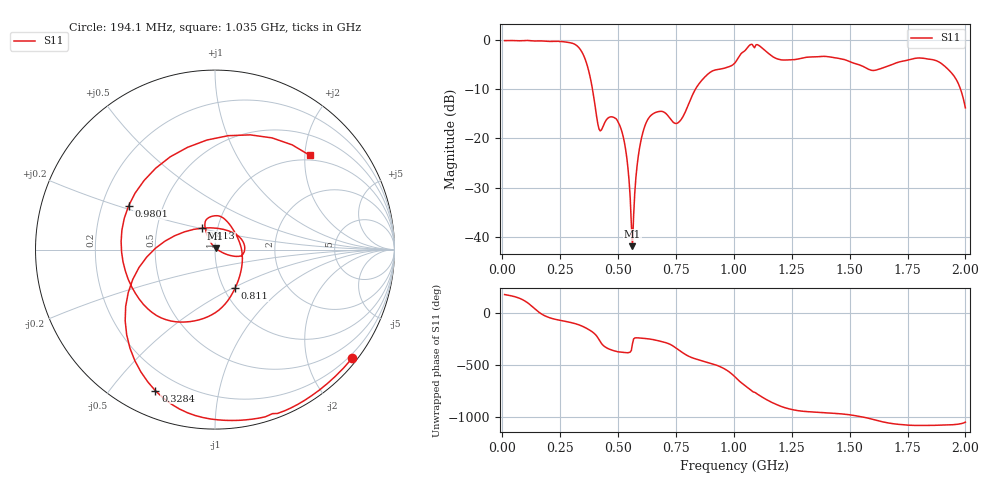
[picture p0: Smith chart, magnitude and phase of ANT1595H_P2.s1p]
!Created with skrf (http://scikit-rf.org).
# Hz S RI R 50.0
!freq ReS11 ImS11
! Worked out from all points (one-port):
!   401 points, 10 MHz to 2 GHz, reference 50 ohm
!   lowest |S11| = -41.9 dB at 562.2 MHz (marker M1), VSWR 1.02, Z = 50.3 + j0.725 ohm
!   |S11| at or under -10 dB: 389.6 MHz to 833.7 MHz (444.1 MHz wide, 72.6 % of centre); 1.979 GHz to end of sweep
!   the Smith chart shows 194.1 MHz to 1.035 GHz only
!   S11 on the Smith chart (normalised r, x): 194.1 MHz: 0.12, -2.88; 328.4 MHz: 0.11, -0.66; 413 MHz: 0.84, +0.21; 811 MHz: 1.12, -0.52; 980.1 MHz: 0.31, +0.22; 1.035 GHz: 0.89, +2.11
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1e7  -0.99 0.0699
7.4675e7  -0.7542 0.6394
1.14475e8  0.0326 0.9944
1.54275e8  0.96 0.2183
1.94075e8  0.7656 -0.6034
2.5875e8  0.2436 -0.9391
3.284e8  -0.3321 -0.7861
3.682e8  -0.4835 -0.2397
4.12975e8  -0.0708 0.1197
5.075e8  0.1301 -0.0376
5.32375e8  0.0724 -0.0292
5.62225e8  0.00349 0.0072
5.92075e8  -0.038 0.0684
6.269e8  -0.0563 0.1433
7.5625e8  0.1396 0.0317
8.10975e8  0.1112 -0.2159
9.10475e8  -0.3249 -0.3677
9.80125e8  -0.4813 0.2439
1.005e9  -0.1532 0.5697
1.03485e9  0.5281 0.5252
1.069675e9  0.8665 -0.2324
1.11445e9  0.1806 -0.8451
1.169175e9  -0.5556 -0.3888
1.25375e9  -0.552 0.3112
1.5025e9  -0.1121 0.5929
1.75125e9  0.6281 0.0227
1.9005e9  0.5696 0.0255
2e9  0.1757 0.1053
